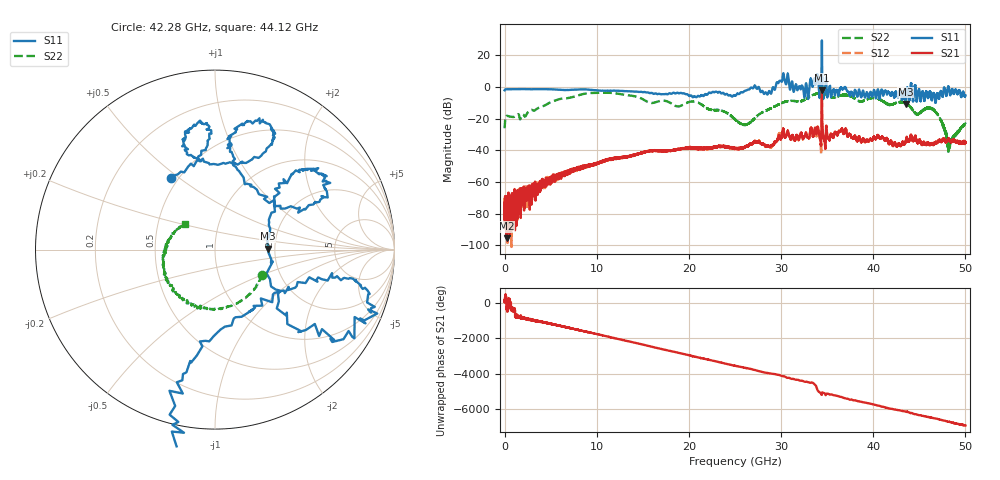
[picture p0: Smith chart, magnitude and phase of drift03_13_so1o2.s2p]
!Created with skrf (http://scikit-rf.org).
# Hz S RI R 50.0
!freq ReS11 ImS11 ReS21 ImS21 ReS12 ImS12 ReS22 ImS22
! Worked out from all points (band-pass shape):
!   10000 points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, 5.3 MHz to 50 GHz, reference 50 ohm
!   highest |S21| = -2.07 dB at 34.43 GHz (marker M1); lowest = -95.7 dB at 220.3 MHz (marker M2)
!   |S21| within 3 dB of the highest: 34.42769 GHz to 34.43425 GHz (6.555 MHz wide, 0.019 % of centre)
!   lowest |S11| = -10.6 dB at 43.53 GHz (marker M3), VSWR 1.83, Z = 91.5 + j1.01 ohm
!   |S11| at or under -10 dB: 43.50697 GHz to 43.53455 GHz (27.58 MHz wide, 0.0634 % of centre)
!   |S22| runs from -42.5 to -3.6 dB; largest |S21 - S12| = 0.23
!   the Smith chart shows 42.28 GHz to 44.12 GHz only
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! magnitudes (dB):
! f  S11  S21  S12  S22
! 5.3 MHz  -2.1  -79.6  -74.6  -26.1
! 220.3 MHz  -1.4  -95.7  -74.8  -18.3
! 8.34 GHz  -1.5  -50.8  -50.8  -4.7
! 16.67 GHz  -4.4  -40.4  -40.1  -9.1
! 20.73 GHz  -6.2  -39.0  -39.1  -9.3
! 25.01 GHz  -5.5  -38.9  -39.1  -20.5
! 26.22 GHz  -2.3  -37.5  -37.3  -23.8
! 27.38 GHz  -1.2  -34.9  -34.8  -18.4
! 28.72 GHz  -2.5  -37.9  -37.6  -14.0
! 30.14 GHz  4.4  -29.3  -29.7  -10.0
! 32.74 GHz  2.0  -29.4  -29.2  -7.4
! 33.34 GHz  2.5  -27.4  -27.6  -5.3
! 33.82 GHz  3.9  -28.9  -29.5  -4.4
! 34.43 GHz  29.4  -2.1  -4.1  -4.0
! 36.49 GHz  -0.4  -27.9  -27.8  -5.3
! 38.88 GHz  -2.3  -32.7  -32.6  -8.9
! 41.67 GHz  -3.3  -35.7  -35.4  -11.0
! 43.53 GHz  -10.6  -34.4  -34.4  -10.2
! 44.74 GHz  -8.8  -34.4  -34.3  -17.1
! 46.65 GHz  -5.1  -36.2  -35.6  -14.8
! 48.22 GHz  -0.5  -33.1  -33.4  -37.5
! 50 GHz  -5.3  -35.2  -35.3  -23.4
